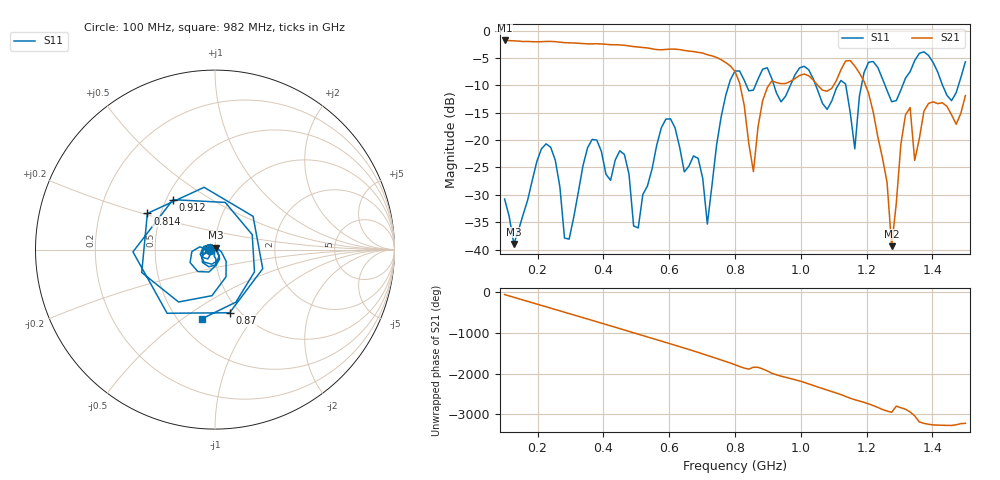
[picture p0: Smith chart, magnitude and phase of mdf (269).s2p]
! NanoVNA-App
! Date: 2025-09-25 15:40:31
! Start: 100MHz Stop: 1,5GHz Points: 101
! S-Parameter data: F S11 S21 S12 S22
# Hz S RI R 50
!  Frequency  S11_Real  S11_Imag  S21_Real  S21_Imag  S12_Real  S12_Imag  S22_Real  S22_Imag
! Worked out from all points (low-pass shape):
!   101 points, 100 MHz to 1.5 GHz, reference 50 ohm
!   highest |S21| = -1.80 dB at 100 MHz (marker M1); lowest = -39.4 dB at 1.276 GHz (marker M2)
!   |S21| within 3 dB of the highest: start of sweep to 739.3 MHz
!   lowest |S11| = -38.9 dB at 128 MHz (marker M3), VSWR 1.02, Z = 50.3 + j1.08 ohm
!   |S11| at or under -10 dB: start of sweep to 780.9 MHz; 918.5 MHz to 968.3 MHz (49.78 MHz wide, 5.28 % of centre); 1.045 GHz to 1.113 GHz (67.84 MHz wide, 6.29 % of centre) (the widest 3 of 7)
!   S12 and S22 are empty: the file has one direction only
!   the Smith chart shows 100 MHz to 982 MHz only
!   S11 on the Smith chart (normalised r, x): 100 MHz: 0.94, -0.01; 814 MHz: 0.42, +0.21; 870 MHz: 0.90, -0.73; 912 MHz: 0.54, +0.35; 982 MHz: 0.65, -0.59
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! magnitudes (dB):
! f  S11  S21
! 100 MHz  -30.8  -1.8
! 128 MHz  -38.9  -1.9
! 212 MHz  -21.6  -2.0
! 282 MHz  -37.9  -2.2
! 338 MHz  -24.7  -2.4
! 464 MHz  -22.6  -2.7
! 506 MHz  -36.0  -3.0
! 576 MHz  -17.8  -3.5
! 716 MHz  -35.3  -4.4
! 800 MHz  -7.4  -7.5
! 814 MHz  -7.4  -9.6
! 856 MHz  -10.9  -25.8
! 870 MHz  -8.8  -17.6
! 912 MHz  -8.8  -9.2
! 982 MHz  -8.1  -8.8
! 1.038 GHz  -8.8  -9.1
! 1.136 GHz  -9.8  -5.6
! 1.164 GHz  -21.6  -6.5
! 1.192 GHz  -7.7  -9.3
! 1.276 GHz  -13.0  -39.4
! 1.318 GHz  -8.7  -15.4
! 1.5 GHz  -5.7  -11.9
